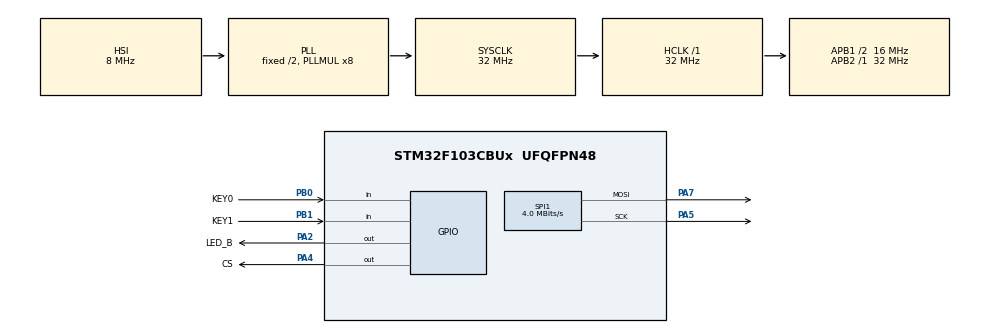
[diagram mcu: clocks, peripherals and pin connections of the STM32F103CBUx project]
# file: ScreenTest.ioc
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Mcu.Family=STM32F1
Mcu.Name=STM32F103CBUx
Mcu.Package=UFQFPN48
NVIC.PriorityGroup=NVIC_PRIORITYGROUP_4
NVIC.TIM1_UP_IRQn=true\:0\:0\:false\:false\:true\:true\:true\:true
PA13.Mode=Trace_Asynchronous_SW
PA13.Signal=SYS_JTMS-SWDIO
PA14.Mode=Trace_Asynchronous_SW
PA14.Signal=SYS_JTCK-SWCLK
PA2.GPIO_Label=LED_B
PA2.PinState=GPIO_PIN_SET
PA2.Signal=GPIO_Output
PA4.GPIO_Label=CS
PA4.Signal=GPIO_Output
PA5.Mode=TX_Only_Simplex_Unidirect_Master
PA5.Signal=SPI1_SCK
PA7.Mode=TX_Only_Simplex_Unidirect_Master
PA7.Signal=SPI1_MOSI
PB0.GPIO_Label=KEY0
PB0.Signal=GPIO_Input
PB1.GPIO_Label=KEY1
PB1.Signal=GPIO_Input
PB3.Mode=Trace_Asynchronous_SW
PB3.Signal=SYS_JTDO-TRACESWO
ProjectManager.HeapSize=0x200
ProjectManager.StackSize=0x400
ProjectManager.TargetToolchain=STM32CubeIDE
RCC.AHBFreq_Value=32000000
RCC.APB1CLKDivider=RCC_HCLK_DIV2
RCC.APB1Freq_Value=16000000
RCC.APB1TimFreq_Value=32000000
RCC.APB2Freq_Value=32000000
RCC.APB2TimFreq_Value=32000000
RCC.HCLKFreq_Value=32000000
RCC.PLLMUL=RCC_PLL_MUL8
RCC.SYSCLKFreq_VALUE=32000000
RCC.SYSCLKSource=RCC_SYSCLKSOURCE_PLLCLK
RCC.USBFreq_Value=32000000
SPI1.BaudRatePrescaler=SPI_BAUDRATEPRESCALER_8
SPI1.CRCCalculation=SPI_CRCCALCULATION_DISABLE
SPI1.CalculateBaudRate=4.0 MBits/s
SPI1.Direction=SPI_DIRECTION_2LINES
SPI1.FirstBit=SPI_FIRSTBIT_MSB
SPI1.Mode=SPI_MODE_MASTER
SPI1.VirtualType=VM_MASTER
TIM1.AutoReloadPreload=TIM_AUTORELOAD_PRELOAD_ENABLE
TIM1.Period=100 - 1
TIM1.Prescaler=1000 - 1
VP_TIM1_VS_ClockSourceINT.Mode=Internal
board=custom

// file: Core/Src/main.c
/* USER CODE BEGIN Header */
/**
 ******************************************************************************
 * @file           : main.c
 * @brief          : Main program body
 ******************************************************************************
 * @attention
 *
 * Copyright (c) 2022 STMicroelectronics.
 * All rights reserved.
 *
 * This software is licensed under terms that can be found in the LICENSE file
 * in the root directory of this software component.
 * If no LICENSE file comes with this software, it is provided AS-IS.
 *
 ******************************************************************************
 */
/* USER CODE END Header */
#include "main.h"

/* USER CODE BEGIN Includes */
#include "LS013B4DN04.h"
#include "buttons.h"
#include "image.h"
#include "gamelogic.h"
#include <stdlib.h>
#include <math.h>
/* USER CODE END Includes */

/* USER CODE BEGIN PTD */
#define CS_Pin GPIO_PIN_4
#define DISP_Pin GPIO_PIN_3
/* USER CODE END PTD */

/* USER CODE BEGIN PD */
#define PLANT_BUF_SIZE 2
#define CLOUD_BUF_SIZE 2

#define FIRE_BUTTON 0
#define JUMP_BUTTON 1

#define LEDB_ON  HAL_GPIO_WritePin(LED_B_GPIO_Port, LED_B_Pin, GPIO_PIN_RESET)
#define LEDB_OFF  HAL_GPIO_WritePin(LED_B_GPIO_Port, LED_B_Pin, GPIO_PIN_SET)
#define LEDB_TOGGLE  HAL_GPIO_TogglePin(LED_B_GPIO_Port, LED_B_Pin)
/* USER CODE END PD */

 SPI_HandleTypeDef hspi1;

TIM_HandleTypeDef htim1;

/* USER CODE BEGIN PV */
LS013B4DN04 MemDisp;

/* USER CODE END PV */

void SystemClock_Config(void);
static void MX_GPIO_Init(void);
static void MX_SPI1_Init(void);
static void MX_TIM1_Init(void);

/* USER CODE BEGIN 0 */
const float JumpTickMax = 60;
const float DinoJumpHeight = 40;
const float DinoGroundPos = 58;

static bool isJumping, flipStatus;
static unsigned short jumpTick, nextPlantTickDel, nextCloudTickDel;
static long tick, plantSubTick, cloudSubTick;
static short dinoVerticalMovement;
static uint8_t groundLength;
static float overallSpeed;
static GameObj *ptr;
/* USER CODE END 0 */

int main(void)
{

  /* MCU Configuration--------------------------------------------------------*/

  /* Reset of all peripherals, Initializes the Flash interface and the Systick. */
  HAL_Init();

  /* Configure the system clock */
  SystemClock_Config();

  /* Initialize all configured peripherals */
  MX_GPIO_Init();
  MX_SPI1_Init();
  MX_TIM1_Init();
  /* USER CODE BEGIN 2 */
	HAL_TIM_Base_Start_IT(&htim1);
	// ALL GPIO AND BUSES MUST BE INITED BEFORE CALL THIS FUNCTION
	LCD_Init(&MemDisp, &hspi1, GPIOA, CS_Pin);

	GameObj *dinoHeader = GenLoopBuf(1);
	GameObj *fireHeader = GenLoopBuf(1);
	GameObj *cloudHeader = GenLoopBuf(CLOUD_BUF_SIZE);
	GameObj *plantHeader = GenLoopBuf(PLANT_BUF_SIZE);

	LCD_LoadFull((uint8_t*) Title);

  /* USER CODE END 2 */

  /* Infinite loop */
  /* USER CODE BEGIN WHILE */
	/// START OVER
	while (1) {
    /* USER CODE END WHILE */

    /* USER CODE BEGIN 3 */

		isJumping = 0, flipStatus = 0;
		jumpTick = 0, nextPlantTickDel = 0, nextCloudTickDel = 0;
		plantSubTick = 0, cloudSubTick = 0;
		groundLength = 29;
		tick = -JumpTickMax - 10;
		overallSpeed = 1;

		HeaderInit(dinoHeader, NULL, 3, 22);
		HeaderInit(fireHeader, NULL, 9, 25);
		HeaderInit(cloudHeader, (uint8_t*) Cloud, 6, 14);
		HeaderInit(plantHeader, (uint8_t*) Plant1, 2, 22);

		dinoHeader = Append(dinoHeader, 4, DinoGroundPos);
		fireHeader = Append(fireHeader, 24, 52);

		LCD_Fill(flipStatus);
		LCD_DrawLine(77, 0, 29, DRAWMODE_ADD, flipStatus);
		dinoHeader->bmp = (uint8_t*) DinoNormalS;
		LCD_DrawLine(dinoHeader->y + 19, dinoHeader->x + 3, 10, DRAWMODE_CULL,
				flipStatus);
		LCD_LoadObjs(dinoHeader, DRAWMODE_ADD, REPEATMODE_NONE, flipStatus);
		LCD_Print("little\nentertainment\nkit", 2, 4, DRAWMODE_ADD,
		REPEATMODE_NONE, flipStatus);

		while (!GetButtonDown(JUMP_BUTTON, 0))
			LCD_UpdateFull(&MemDisp);

		/// THE TICK LOOP
		while (1) {
			// Day and night invertion
			flipStatus = ((tick / 800) % 3 == 2) ? 1 : 0;

			if (GetButtonDown(JUMP_BUTTON, 1) && !isJumping)
				isJumping = 1;

			dinoVerticalMovement = DinoGroundPos;
			if (isJumping) {
				if (jumpTick < JumpTickMax / overallSpeed - 1) {
					jumpTick++;
					dinoVerticalMovement = jumpTick
							* (jumpTick - JumpTickMax / overallSpeed)
							* (4
									/ ((JumpTickMax / overallSpeed)
											* (JumpTickMax / overallSpeed)))
							* DinoJumpHeight + DinoGroundPos;
				} else {
					isJumping = 0;
					jumpTick = 0;
				}
			}

			// Plant generation
			if (tick - plantSubTick == nextPlantTickDel) {
				plantHeader = Append(plantHeader, 96, 59);
				nextPlantTickDel = Random(tick, 80, 160);
				plantSubTick = tick;
			}
			// Cloud generation
			if (tick - cloudSubTick == nextCloudTickDel) {
				cloudHeader = Append(cloudHeader, 96, Random(tick, 12, 20));
				nextCloudTickDel = Random(tick, 1200, 2000);
				cloudSubTick = tick;
			}

			LCD_Fill(flipStatus);

			// Draw ground
			if (groundLength < 96) {
				LCD_DrawLine(77, 0, groundLength, DRAWMODE_ADD, flipStatus);
				groundLength++;
			} else {
				// Reset canvas
				LCD_DrawLine(77, 0, 96, DRAWMODE_ADD, flipStatus);
			}

			// Obj shift
			plantHeader = ShiftX(plantHeader, -1 * overallSpeed);
			cloudHeader = ShiftX(cloudHeader, -0.1 * overallSpeed);

			dinoHeader->y = dinoVerticalMovement;
			// Culling masks
			ptr = plantHeader;
			for (;;) {
				if (ptr->full) {
					LCD_DrawLine(77, ptr->x + 2, 6, DRAWMODE_CULL, flipStatus);
				}
				// If looped through all / next buffer is empty
				if (!ptr->next->full || ptr->next == plantHeader) {
					break;
				}
				ptr = ptr->next;
			}
			LCD_DrawLine(dinoHeader->y + 19, dinoHeader->x + 3, 10,
			DRAWMODE_CULL, flipStatus);
			// Render fire
			if (!isJumping) {
				if (GetButton(FIRE_BUTTON)) {
					fireHeader->bmp = (uint8_t*) Fire[(tick
							/ (int) (16 / overallSpeed)) % 2];
					LCD_LoadObjs(fireHeader, DRAWMODE_ADD, REPEATMODE_NONE,
							flipStatus);
				}
			}

			LCD_LoadObjs(plantHeader, DRAWMODE_ADD, REPEATMODE_NONE,
					flipStatus);
			LCD_LoadObjs(cloudHeader, DRAWMODE_ADD, REPEATMODE_NONE,
					flipStatus);

			// Check death
			ptr = plantHeader;
			for (;;) {
				if (ptr->full) {
					if (IsOverlapping(dinoHeader->x + 3, dinoHeader->y,
							dinoHeader->x + 23 - 7, dinoHeader->y + 21 - 4,
							ptr->x, 59, ptr->x + 9, 59 + 21)) {
						goto Dead;
					}
				}
				// If looped through all / next buffer is empty
				if (!ptr->next->full || ptr->next == plantHeader) {
					break;
				}
				ptr = ptr->next;
			}

			// Render dino!
			// Dino is jumping
			if (isJumping) {
				dinoHeader->bmp = (uint8_t*) DinoNormalS;
			}
			// Fire dino
			else if (GetButton(FIRE_BUTTON)) {
				dinoHeader->bmp = (uint8_t*) DinoFireRunning[(tick
						/ (int) (12 / overallSpeed)) % 2];
			}
			// Dino is running normally
			else {
				dinoHeader->bmp = (uint8_t*) DinoNormalRunning[(tick
						/ (int) (12 / overallSpeed)) % 2];
			}
			LCD_LoadObjs(dinoHeader, DRAWMODE_ADD, REPEATMODE_NONE, flipStatus);

			// Render game process
			LCD_Print("#  #  #", 8, 4, DRAWMODE_ADD, REPEATMODE_NONE, flipStatus);

			tick++;
			LCD_UpdateFull(&MemDisp);
		}

		// Dead handler (outer loop)
		if (0) {
			Dead: DisableButtonDownDetection(JUMP_BUTTON);
			dinoHeader->bmp = (uint8_t*) DinoDead;

			LCD_DrawLine(dinoHeader->y + 19, dinoHeader->x + 3, 10,
			DRAWMODE_CULL, flipStatus);
			LCD_LoadObjs(dinoHeader, DRAWMODE_ADD, REPEATMODE_NONE, flipStatus);
			LCD_UpdateFull(&MemDisp);

			HAL_Delay(400);

			// Flip screen
			for (uint8_t i = 0; i < 2; i++) {
				HAL_Delay(100);
				LCD_Invert();
				LCD_UpdateFull(&MemDisp);
			}

			// Redraw Dino
			while (dinoHeader->y <= DinoGroundPos) {
				LCD_Fill(flipStatus);
				LCD_DrawLine(77, 0, 96, DRAWMODE_ADD, flipStatus);
				LCD_DrawLine(dinoHeader->y + 19, dinoHeader->x + 3, 10,
				DRAWMODE_CULL, flipStatus);
				LCD_LoadObjs(dinoHeader, DRAWMODE_ADD, REPEATMODE_NONE,
						flipStatus);
				HAL_Delay(5);
				LCD_UpdateFull(&MemDisp);
				dinoHeader->y++;
			}

			for (uint8_t l = 96; l > 28; l--) {
				uint8_t delayTime = ceil((float) (96 - l) * 8 / 67);
				LCD_DrawLine(77, l, 1, DRAWMODE_CULL, flipStatus);
				LCD_UpdateLine(&MemDisp, 77);
				HAL_Delay(delayTime);
			}

		}
	}
}

  /* USER CODE END 3 */
}

void SystemClock_Config(void)
{
  RCC_OscInitTypeDef RCC_OscInitStruct = {0};
  RCC_ClkInitTypeDef RCC_ClkInitStruct = {0};

  /** Initializes the RCC Oscillators according to the specified parameters
  * in the RCC_OscInitTypeDef structure.
  */
  RCC_OscInitStruct.OscillatorType = RCC_OSCILLATORTYPE_HSI;
  RCC_OscInitStruct.HSIState = RCC_HSI_ON;
  RCC_OscInitStruct.HSICalibrationValue = RCC_HSICALIBRATION_DEFAULT;
  RCC_OscInitStruct.PLL.PLLState = RCC_PLL_ON;
  RCC_OscInitStruct.PLL.PLLSource = RCC_PLLSOURCE_HSI_DIV2;
  RCC_OscInitStruct.PLL.PLLMUL = RCC_PLL_MUL8;
  if (HAL_RCC_OscConfig(&RCC_OscInitStruct) != HAL_OK)
  {
    Error_Handler();
  }

  /** Initializes the CPU, AHB and APB buses clocks
  */
  RCC_ClkInitStruct.ClockType = RCC_CLOCKTYPE_HCLK|RCC_CLOCKTYPE_SYSCLK
                              |RCC_CLOCKTYPE_PCLK1|RCC_CLOCKTYPE_PCLK2;
  RCC_ClkInitStruct.SYSCLKSource = RCC_SYSCLKSOURCE_PLLCLK;
  RCC_ClkInitStruct.AHBCLKDivider = RCC_SYSCLK_DIV1;
  RCC_ClkInitStruct.APB1CLKDivider = RCC_HCLK_DIV2;
  RCC_ClkInitStruct.APB2CLKDivider = RCC_HCLK_DIV1;

  if (HAL_RCC_ClockConfig(&RCC_ClkInitStruct, FLASH_LATENCY_1) != HAL_OK)
  {
    Error_Handler();
  }
}

static void MX_SPI1_Init(void)
{

  /* SPI1 parameter configuration*/
  hspi1.Instance = SPI1;
  hspi1.Init.Mode = SPI_MODE_MASTER;
  hspi1.Init.Direction = SPI_DIRECTION_2LINES;
  hspi1.Init.DataSize = SPI_DATASIZE_8BIT;
  hspi1.Init.CLKPolarity = SPI_POLARITY_LOW;
  hspi1.Init.CLKPhase = SPI_PHASE_1EDGE;
  hspi1.Init.NSS = SPI_NSS_SOFT;
  hspi1.Init.BaudRatePrescaler = SPI_BAUDRATEPRESCALER_8;
  hspi1.Init.FirstBit = SPI_FIRSTBIT_MSB;
  hspi1.Init.TIMode = SPI_TIMODE_DISABLE;
  hspi1.Init.CRCCalculation = SPI_CRCCALCULATION_DISABLE;
  hspi1.Init.CRCPolynomial = 10;
  if (HAL_SPI_Init(&hspi1) != HAL_OK)
  {
    Error_Handler();
  }

}

static void MX_TIM1_Init(void)
{

  TIM_ClockConfigTypeDef sClockSourceConfig = {0};
  TIM_MasterConfigTypeDef sMasterConfig = {0};

  htim1.Instance = TIM1;
  htim1.Init.Prescaler = 1000 - 1;
  htim1.Init.CounterMode = TIM_COUNTERMODE_UP;
  htim1.Init.Period = 100 - 1;
  htim1.Init.ClockDivision = TIM_CLOCKDIVISION_DIV1;
  htim1.Init.RepetitionCounter = 0;
  htim1.Init.AutoReloadPreload = TIM_AUTORELOAD_PRELOAD_ENABLE;
  if (HAL_TIM_Base_Init(&htim1) != HAL_OK)
  {
    Error_Handler();
  }
  sClockSourceConfig.ClockSource = TIM_CLOCKSOURCE_INTERNAL;
  if (HAL_TIM_ConfigClockSource(&htim1, &sClockSourceConfig) != HAL_OK)
  {
    Error_Handler();
  }
  sMasterConfig.MasterOutputTrigger = TIM_TRGO_RESET;
  sMasterConfig.MasterSlaveMode = TIM_MASTERSLAVEMODE_DISABLE;
  if (HAL_TIMEx_MasterConfigSynchronization(&htim1, &sMasterConfig) != HAL_OK)
  {
    Error_Handler();
  }

}

static void MX_GPIO_Init(void)
{
  GPIO_InitTypeDef GPIO_InitStruct = {0};

  /* GPIO Ports Clock Enable */
  __HAL_RCC_GPIOA_CLK_ENABLE();
  __HAL_RCC_GPIOB_CLK_ENABLE();

  /*Configure GPIO pin Output Level */
  HAL_GPIO_WritePin(LED_B_GPIO_Port, LED_B_Pin, GPIO_PIN_SET);

  /*Configure GPIO pin Output Level */
  HAL_GPIO_WritePin(CS_GPIO_Port, CS_Pin, GPIO_PIN_RESET);

  /*Configure GPIO pins : LED_B_Pin CS_Pin */
  GPIO_InitStruct.Pin = LED_B_Pin|CS_Pin;
  GPIO_InitStruct.Mode = GPIO_MODE_OUTPUT_PP;
  GPIO_InitStruct.Pull = GPIO_NOPULL;
  GPIO_InitStruct.Speed = GPIO_SPEED_FREQ_LOW;
  HAL_GPIO_Init(GPIOA, &GPIO_InitStruct);

  /*Configure GPIO pins : KEY0_Pin KEY1_Pin */
  GPIO_InitStruct.Pin = KEY0_Pin|KEY1_Pin;
  GPIO_InitStruct.Mode = GPIO_MODE_INPUT;
  GPIO_InitStruct.Pull = GPIO_NOPULL;
  HAL_GPIO_Init(GPIOB, &GPIO_InitStruct);

}

/* USER CODE BEGIN 4 */

void HAL_TIM_PeriodElapsedCallback(TIM_HandleTypeDef *htim) {
	if (htim == &htim1) {
//		LEDB_TOGGLE;
		KeyScan();
	}
}
/* USER CODE END 4 */

void Error_Handler(void)
{
	__disable_irq();
	while (1) {
	}
}
